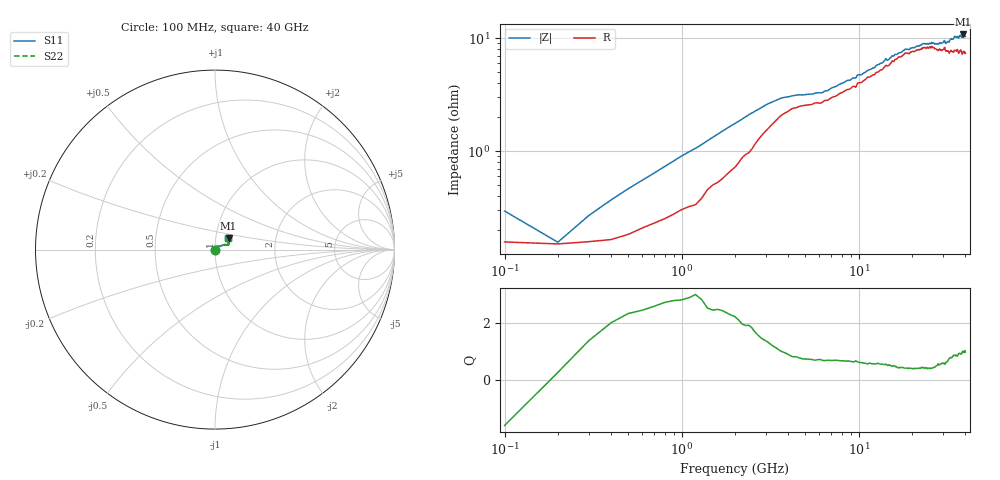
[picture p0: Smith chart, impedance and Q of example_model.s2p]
# Hz  S  RI  R  50.00
! freq	real(Ex_S11_avg)	imag(Ex_S11_avg)	real(Ex_S21_avg)	imag(Ex_S21_avg)	real(Ex_S12_avg)	imag(Ex_S12_avg)	real(Ex_S22_avg)	imag(Ex_S22_avg)
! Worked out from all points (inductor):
!   401 points, 100 MHz to 40 GHz, reference 50 ohm
!   read as one part in series: L = 132 pH near 299.5 MHz
!   highest |Z| = 10.8 ohm at 39 GHz (marker M1)
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1e8  0.00157 -0.00249  0.9984 0.00249  0.9984 0.00249  0.00157 -0.00249
1.9975e8  0.0015 0.000402  0.9985 -0.000402  0.9985 -0.000403  0.0015 0.000403
3.9925e8  0.00166 0.0033  0.9983 -0.0033  0.9983 -0.0033  0.00166 0.0033
4.99e8  0.00185 0.00425  0.9982 -0.00425  0.9982 -0.00425  0.00184 0.00425
5.9875e8  0.00211 0.00508  0.9979 -0.00508  0.9979 -0.00508  0.00211 0.00508
9.9775e8  0.0031 0.00846  0.9969 -0.00846  0.9969 -0.00846  0.00309 0.00846
1.59625e9  0.00542 0.0129  0.9946 -0.0129  0.9946 -0.0129  0.00542 0.0129
2.39425e9  0.00995 0.0183  0.9901 -0.0183  0.9901 -0.0182  0.00993 0.0182
3.0925e9  0.0162 0.0203  0.9838 -0.0203  0.9838 -0.0203  0.0162 0.0203
3.691e9  0.021 0.02  0.979 -0.02  0.979 -0.02  0.021 0.02
6.78325e9  0.0283 0.0188  0.9717 -0.0188  0.9717 -0.0188  0.0283 0.0188
9.97525e9  0.0393 0.0231  0.9607 -0.0231  0.9608 -0.0232  0.0392 0.0232
1.34665e10  0.0507 0.0264  0.9493 -0.0264  0.9493 -0.0265  0.0507 0.0265
1.82545e10  0.0695 0.0266  0.9305 -0.0266  0.9306 -0.0267  0.0694 0.0267
2.005e10  0.0717 0.0261  0.9283 -0.0261  0.9283 -0.026  0.0717 0.026
2.30425e10  0.0769 0.0304  0.9231 -0.0304  0.9231 -0.0304  0.0769 0.0304
2.673325e10  0.0764 0.0313  0.9236 -0.0313  0.9236 -0.0313  0.0764 0.0313
3.0424e10  0.0781 0.0408  0.9219 -0.0408  0.9219 -0.0408  0.0781 0.0408
3.10225e10  0.0729 0.0405  0.9271 -0.0405  0.927 -0.0405  0.073 0.0405
3.34165e10  0.0752 0.0529  0.9248 -0.0529  0.9248 -0.0529  0.0752 0.0529
3.90025e10  0.0756 0.0654  0.9244 -0.0654  0.9242 -0.0654  0.0758 0.0654
4e10  0.0732 0.0626  0.9268 -0.0626  0.9273 -0.0628  0.0727 0.0628
